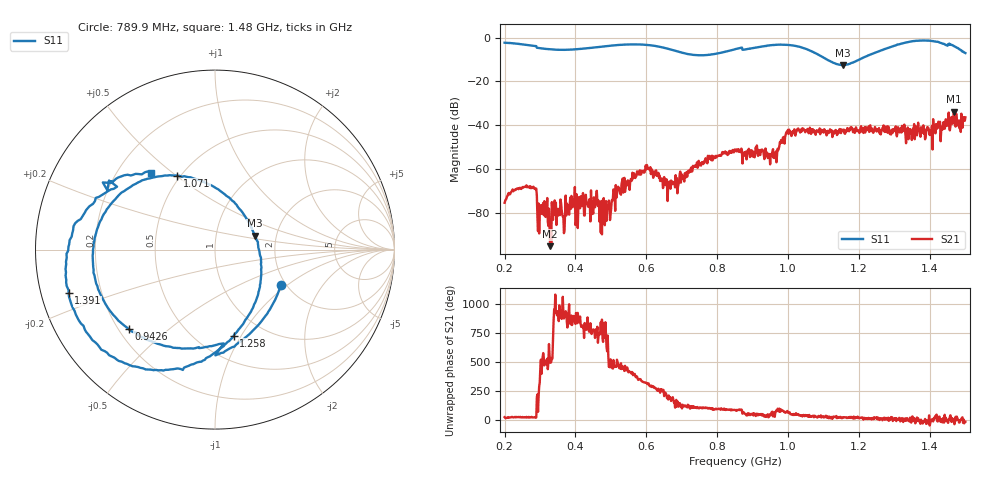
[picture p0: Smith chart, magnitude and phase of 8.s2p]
! NanoVNA-App
! Date: 2024-06-25 16:52:57
! Start: 200MHz Stop: 1.5GHz Points: 801
! S-Parameter data: F S11 S21 S12 S22
# Hz S RI R 50
!  Frequency  S11_Real  S11_Imag  S21_Real  S21_Imag  S12_Real  S12_Imag  S22_Real  S22_Imag
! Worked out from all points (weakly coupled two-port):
!   801 points, 200 MHz to 1.5 GHz, reference 50 ohm
!   highest |S21| = -33.87 dB at 1.468 GHz (marker M1); lowest = -95.2 dB at 328.4 MHz (marker M2)
!   lowest |S11| = -12.6 dB at 1.155 GHz (marker M3), VSWR 1.61, Z = 77.2 + j12.6 ohm
!   |S11| at or under -10 dB: 1.109 GHz to 1.202 GHz (92.73 MHz wide, 8.03 % of centre)
!   S12 and S22 are empty: the file has one direction only
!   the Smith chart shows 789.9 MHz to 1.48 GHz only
!   S11 on the Smith chart (normalised r, x): 789.9 MHz: 1.89, -0.89; 942.6 MHz: 0.24, -0.37; 1.071 GHz: 0.48, +0.50; 1.258 GHz: 0.73, -0.93; 1.391 GHz: 0.08, -0.15; 1.48 GHz: 0.34, +0.42
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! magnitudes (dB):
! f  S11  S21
! 200 MHz  -2.4  -75.4
! 278 MHz  -3.7  -68.6
! 299.1 MHz  -4.9  -80.6
! 328.4 MHz  -5.4  -95.2
! 417.8 MHz  -5.1  -72.3
! 494.1 MHz  -3.8  -74.4
! 567.2 MHz  -3.1  -63.6
! 633.9 MHz  -4.1  -61.8
! 685.9 MHz  -6.3  -64.1
! 789.9 MHz  -7.6  -54.8
! 850 MHz  -5.4  -51.1
! 942.6 MHz  -3.7  -55.0
! 999.5 MHz  -3.4  -42.1
! 1.068 GHz  -6.4  -43.3
! 1.071 GHz  -6.7  -42.5
! 1.155 GHz  -12.6  -42.9
! 1.258 GHz  -6.2  -43.7
! 1.284 GHz  -4.6  -41.1
! 1.391 GHz  -1.4  -42.3
! 1.468 GHz  -3.9  -33.9
! 1.48 GHz  -5.1  -38.1
! 1.5 GHz  -7.1  -36.4
